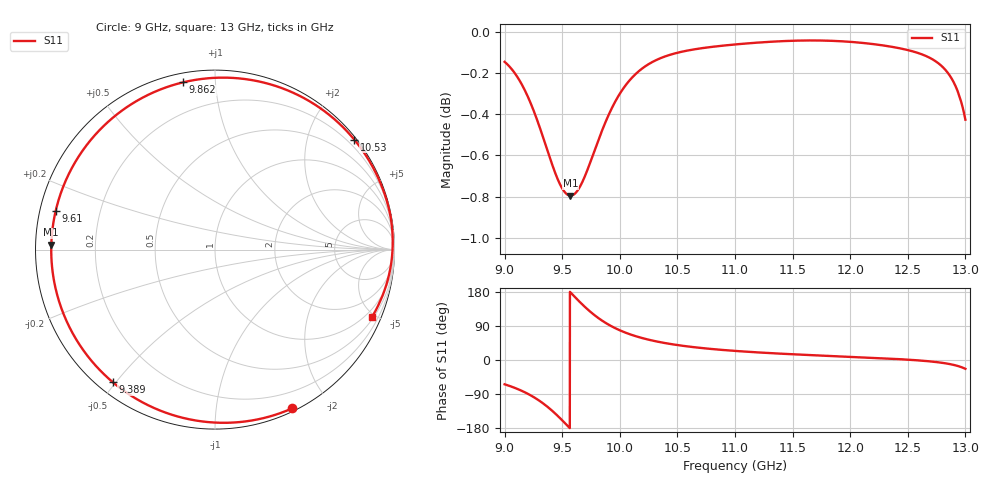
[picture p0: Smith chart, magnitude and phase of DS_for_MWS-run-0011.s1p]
! TOUCHSTONE file generated by CST DESIGN STUDIO
! Date and time: Tue Feb  4 17:23:02 2025
! Project name: C:\Work\MatlabApps\UnitCellOptimizationMatlab\CST\unitcell.cst
! Tree item: Tasks\Sweep1\SPara1\S-Parameters
! Header version: 2024
! Port assignment regex: !\s*Touchstone port\s*([0-9]+)\s*=\s*(CST MWS port|CST DES external port|CST DES block port)\s*(.+)\s* \(\"(.*)\"\)(\s*mode\s*([0-9]+))?.*
! Touchstone port assignment:
! Touchstone port 1 = CST DES external port 1 ("")
# GHz S MA R 50
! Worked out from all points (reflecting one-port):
!   4001 points, 9 GHz to 13 GHz, reference 50 ohm
!   lowest |S11| = -0.8 dB at 9.572 GHz (marker M1), VSWR 21.84, Z = 2.29 + j0.76 ohm
!   phase of S11 starts at -64 deg and turns -319 deg over the sweep
!   S11 on the Smith chart (normalised r, x): 9 GHz: 0.03, -1.60; 9.389 GHz: 0.04, -0.49; 9.61 GHz: 0.05, +0.12; 9.862 GHz: 0.04, +0.83; 10.53 GHz: 0.05, +2.88; 13 GHz: 0.60, -4.79
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9  0.9834 -64.1
9.115  0.9747 -76.8
9.234  0.9597 -94.6
9.316  0.946 -110.5
9.389  0.9327 -127.7
9.443  0.9235 -142.3
9.5  0.9162 -159.1
9.572  0.9125 178.3
9.61  0.9135 166.2
9.676  0.9196 146.2
9.736  0.9284 129.5
9.797  0.9385 114.5
9.862  0.9488 100.7
9.925  0.9575 89.5
10  0.966 78.4
10.102  0.9745 66.4
10.216  0.9808 56.2
10.346  0.9852 47.3
10.5  0.9884 39.4
10.526  0.9888 38.3
10.736  0.9912 30.8
11  0.993 24.0
11.5  0.9951 15.1
12  0.9945 8.4
12.5  0.9899 0.9
12.809  0.9802 -7.9
12.908  0.971 -13.7
13  0.9521 -23.2
